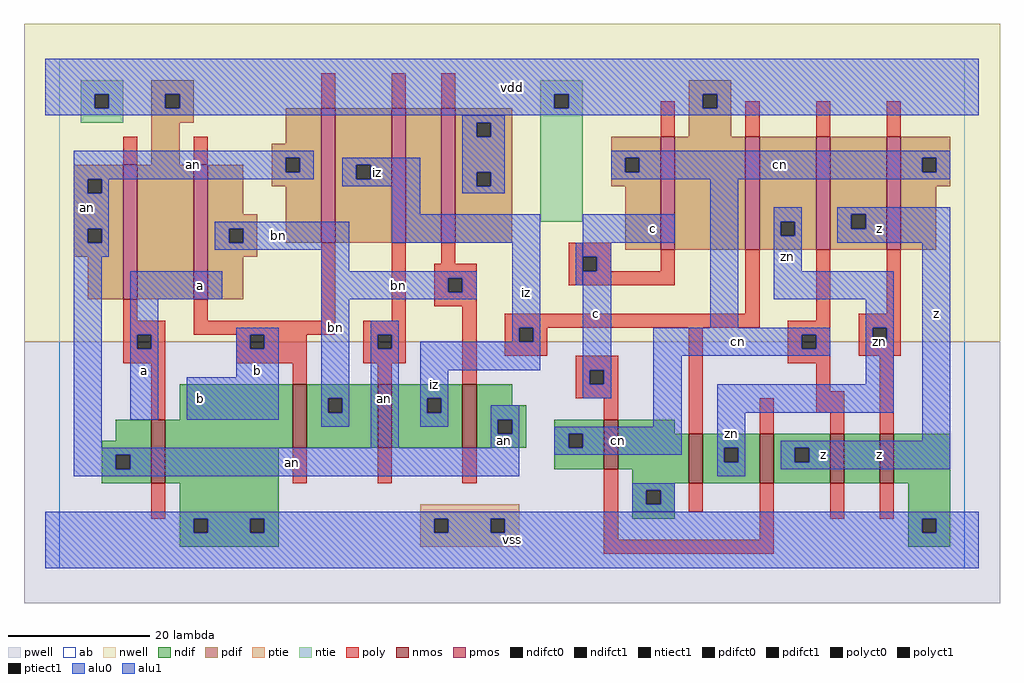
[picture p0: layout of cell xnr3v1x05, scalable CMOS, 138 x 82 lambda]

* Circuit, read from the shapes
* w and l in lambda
.subckt xnr3v1x05 a an b bn c cn iz vdd vss z zn
M1 vss a an vss nfet w=9 l=2
M2 bn b vss vss nfet w=9 l=2
M3 iz an bn vss nfet w=9 l=2
M4 an bn iz vss nfet w=9 l=2
M5 vss c cn vss nfet w=7 l=2
M6 zn iz vss vss nfet w=7 l=2
M7 z c zn vss nfet w=7 l=2
M8 n1 cn z vss nfet w=7 l=2
M9 vss zn n1 vss nfet w=7 l=2
M10 vdd a an vdd pfet w=19 l=2
M11 bn b vdd vdd pfet w=19 l=2
M12 iz b an vdd pfet w=19 l=2
M13 n2 an iz vdd pfet w=19 l=2
M14 vdd bn n2 vdd pfet w=19 l=2
M15 vdd c cn vdd pfet w=16 l=2
M16 zn iz vdd vdd pfet w=16 l=2
M17 z cn zn vdd pfet w=16 l=2
M18 cn zn z vdd pfet w=16 l=2
.ends

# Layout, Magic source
magic
tech scmos
<< ab >>
rect 0 0 128 72
<< nwell >>
rect -5 32 133 77
<< pwell >>
rect -5 -5 133 32
<< poly >>
rect 37 65 39 70
rect 47 65 49 70
rect 54 65 56 70
rect 9 57 11 61
rect 19 57 21 61
rect 85 61 87 66
rect 97 61 99 66
rect 107 61 109 66
rect 117 61 119 66
rect 9 35 11 38
rect 19 35 21 38
rect 37 35 39 46
rect 47 35 49 46
rect 54 43 56 46
rect 72 44 78 46
rect 53 41 59 43
rect 53 39 55 41
rect 57 39 59 41
rect 72 42 74 44
rect 76 42 78 44
rect 85 42 87 45
rect 72 40 87 42
rect 53 37 59 39
rect 9 33 15 35
rect 19 33 39 35
rect 43 33 49 35
rect 9 31 11 33
rect 13 31 15 33
rect 9 29 15 31
rect 25 31 27 33
rect 29 31 35 33
rect 25 29 35 31
rect 43 31 45 33
rect 47 31 49 33
rect 43 29 49 31
rect 13 21 15 29
rect 33 26 35 29
rect 45 26 47 29
rect 57 26 59 37
rect 97 36 99 45
rect 63 34 99 36
rect 107 35 109 45
rect 117 36 119 45
rect 63 32 65 34
rect 67 32 69 34
rect 63 30 69 32
rect 73 28 79 30
rect 73 26 75 28
rect 77 26 79 28
rect 73 24 79 26
rect 77 21 79 24
rect 33 12 35 17
rect 45 12 47 17
rect 57 12 59 17
rect 89 19 91 34
rect 103 33 109 35
rect 103 31 105 33
rect 107 31 109 33
rect 103 29 109 31
rect 113 34 119 36
rect 113 32 115 34
rect 117 32 119 34
rect 113 30 119 32
rect 107 25 109 29
rect 99 19 101 24
rect 107 22 111 25
rect 109 19 111 22
rect 116 19 118 30
rect 13 7 15 12
rect 77 4 79 14
rect 89 8 91 12
rect 99 4 101 12
rect 109 7 111 12
rect 116 7 118 12
rect 77 2 101 4
<< ndif >>
rect 17 21 33 26
rect 8 18 13 21
rect 6 16 13 18
rect 6 14 8 16
rect 10 14 13 16
rect 6 12 13 14
rect 15 17 33 21
rect 35 24 45 26
rect 35 22 38 24
rect 40 22 45 24
rect 35 17 45 22
rect 47 24 57 26
rect 47 22 52 24
rect 54 22 57 24
rect 47 17 57 22
rect 59 23 64 26
rect 59 21 66 23
rect 59 19 62 21
rect 64 19 66 21
rect 59 17 66 19
rect 70 19 77 21
rect 70 17 72 19
rect 74 17 77 19
rect 15 12 31 17
rect 70 14 77 17
rect 79 19 87 21
rect 79 14 89 19
rect 17 7 31 12
rect 17 5 19 7
rect 21 5 27 7
rect 29 5 31 7
rect 17 3 31 5
rect 81 12 89 14
rect 91 17 99 19
rect 91 15 94 17
rect 96 15 99 17
rect 91 12 99 15
rect 101 17 109 19
rect 101 15 104 17
rect 106 15 109 17
rect 101 12 109 15
rect 111 12 116 19
rect 118 12 126 19
rect 81 11 87 12
rect 81 9 83 11
rect 85 9 87 11
rect 81 7 87 9
rect 120 7 126 12
rect 120 5 122 7
rect 124 5 126 7
rect 120 3 126 5
<< pdif >>
rect 13 67 19 69
rect 13 65 15 67
rect 17 65 19 67
rect 89 67 95 69
rect 13 63 19 65
rect 13 57 17 63
rect 32 60 37 65
rect 30 58 37 60
rect 2 55 9 57
rect 2 53 4 55
rect 6 53 9 55
rect 2 48 9 53
rect 2 46 4 48
rect 6 46 9 48
rect 2 44 9 46
rect 4 38 9 44
rect 11 38 19 57
rect 21 50 26 57
rect 30 56 32 58
rect 34 56 37 58
rect 30 54 37 56
rect 21 48 28 50
rect 21 46 24 48
rect 26 46 28 48
rect 32 46 37 54
rect 39 57 47 65
rect 39 55 42 57
rect 44 55 47 57
rect 39 46 47 55
rect 49 46 54 65
rect 56 63 64 65
rect 56 61 59 63
rect 61 61 64 63
rect 56 56 64 61
rect 56 54 59 56
rect 61 54 64 56
rect 56 46 64 54
rect 89 65 91 67
rect 93 65 95 67
rect 89 61 95 65
rect 78 58 85 61
rect 78 56 80 58
rect 82 56 85 58
rect 78 54 85 56
rect 21 44 28 46
rect 21 38 26 44
rect 80 45 85 54
rect 87 45 97 61
rect 99 49 107 61
rect 99 47 102 49
rect 104 47 107 49
rect 99 45 107 47
rect 109 50 117 61
rect 109 48 112 50
rect 114 48 117 50
rect 109 45 117 48
rect 119 58 126 61
rect 119 56 122 58
rect 124 56 126 58
rect 119 54 126 56
rect 119 45 124 54
<< alu1 >>
rect -2 67 130 72
rect -2 65 5 67
rect 7 65 15 67
rect 17 65 70 67
rect 72 65 91 67
rect 93 65 130 67
rect -2 64 130 65
rect 74 46 87 50
rect 10 38 23 42
rect 10 33 14 38
rect 10 31 11 33
rect 13 31 14 33
rect 10 21 14 31
rect 25 33 31 34
rect 25 31 27 33
rect 29 31 31 33
rect 25 27 31 31
rect 18 21 31 27
rect 74 44 78 46
rect 76 42 78 44
rect 74 28 78 42
rect 110 50 126 51
rect 110 48 112 50
rect 114 48 126 50
rect 110 46 126 48
rect 74 26 75 28
rect 77 26 78 28
rect 74 24 78 26
rect 122 18 126 46
rect 102 17 126 18
rect 102 15 104 17
rect 106 15 126 17
rect 102 14 126 15
rect -2 7 130 8
rect -2 5 19 7
rect 21 5 27 7
rect 29 5 53 7
rect 55 5 61 7
rect 63 5 122 7
rect 124 5 130 7
rect -2 0 130 5
<< ptie >>
rect 51 7 65 9
rect 51 5 53 7
rect 55 5 61 7
rect 63 5 65 7
rect 51 3 65 5
<< ntie >>
rect 3 67 9 69
rect 3 65 5 67
rect 7 65 9 67
rect 3 63 9 65
rect 68 67 74 69
rect 68 65 70 67
rect 72 65 74 67
rect 68 49 74 65
<< nmos >>
rect 13 12 15 21
rect 33 17 35 26
rect 45 17 47 26
rect 57 17 59 26
rect 77 14 79 21
rect 89 12 91 19
rect 99 12 101 19
rect 109 12 111 19
rect 116 12 118 19
<< pmos >>
rect 9 38 11 57
rect 19 38 21 57
rect 37 46 39 65
rect 47 46 49 65
rect 54 46 56 65
rect 85 45 87 61
rect 97 45 99 61
rect 107 45 109 61
rect 117 45 119 61
<< polyct0 >>
rect 55 39 57 41
rect 45 31 47 33
rect 65 32 67 34
rect 105 31 107 33
rect 115 32 117 34
<< polyct1 >>
rect 74 42 76 44
rect 11 31 13 33
rect 27 31 29 33
rect 75 26 77 28
<< ndifct0 >>
rect 8 14 10 16
rect 38 22 40 24
rect 52 22 54 24
rect 62 19 64 21
rect 72 17 74 19
rect 94 15 96 17
rect 83 9 85 11
<< ndifct1 >>
rect 19 5 21 7
rect 27 5 29 7
rect 104 15 106 17
rect 122 5 124 7
<< ntiect1 >>
rect 5 65 7 67
rect 70 65 72 67
<< ptiect1 >>
rect 53 5 55 7
rect 61 5 63 7
<< pdifct0 >>
rect 4 53 6 55
rect 4 46 6 48
rect 32 56 34 58
rect 24 46 26 48
rect 42 55 44 57
rect 59 61 61 63
rect 59 54 61 56
rect 80 56 82 58
rect 102 47 104 49
rect 122 56 124 58
<< pdifct1 >>
rect 15 65 17 67
rect 91 65 93 67
rect 112 48 114 50
<< alu0 >>
rect 57 63 63 64
rect 57 61 59 63
rect 61 61 63 63
rect 2 58 36 59
rect 2 56 32 58
rect 34 56 36 58
rect 2 55 36 56
rect 40 57 51 58
rect 40 55 42 57
rect 44 55 51 57
rect 2 53 4 55
rect 6 53 7 55
rect 40 54 51 55
rect 2 48 7 53
rect 47 50 51 54
rect 57 56 63 61
rect 57 54 59 56
rect 61 54 63 56
rect 78 58 126 59
rect 78 56 80 58
rect 82 56 122 58
rect 124 56 126 58
rect 78 55 126 56
rect 57 53 63 54
rect 2 46 4 48
rect 6 46 7 48
rect 2 44 7 46
rect 22 48 41 49
rect 22 46 24 48
rect 26 46 41 48
rect 47 46 68 50
rect 22 45 41 46
rect 2 17 6 44
rect 37 42 41 45
rect 37 41 59 42
rect 37 39 55 41
rect 57 39 59 41
rect 37 38 59 39
rect 37 24 41 38
rect 37 22 38 24
rect 40 22 41 24
rect 37 20 41 22
rect 44 33 48 35
rect 44 31 45 33
rect 47 31 48 33
rect 64 34 68 46
rect 73 40 74 46
rect 64 32 65 34
rect 67 32 68 34
rect 44 17 48 31
rect 51 28 68 32
rect 92 34 96 55
rect 101 49 105 51
rect 101 47 102 49
rect 104 47 105 49
rect 101 42 105 47
rect 101 38 118 42
rect 114 34 118 38
rect 51 24 55 28
rect 84 33 109 34
rect 84 31 105 33
rect 107 31 109 33
rect 84 30 109 31
rect 114 32 115 34
rect 117 32 118 34
rect 51 22 52 24
rect 54 22 55 24
rect 51 20 55 22
rect 61 21 65 23
rect 61 19 62 21
rect 64 19 65 21
rect 84 20 88 30
rect 114 26 118 32
rect 61 17 65 19
rect 2 16 65 17
rect 70 19 88 20
rect 70 17 72 19
rect 74 17 88 19
rect 70 16 88 17
rect 93 22 118 26
rect 93 17 97 22
rect 2 14 8 16
rect 10 14 65 16
rect 2 13 65 14
rect 93 15 94 17
rect 96 15 97 17
rect 93 13 97 15
rect 81 11 87 12
rect 81 9 83 11
rect 85 9 87 11
rect 81 8 87 9
<< labels >>
rlabel alu0 4 51 4 51 6 an
rlabel alu0 53 26 53 26 6 iz
rlabel alu0 46 24 46 24 6 an
rlabel alu0 48 40 48 40 6 bn
rlabel alu0 39 34 39 34 6 bn
rlabel alu0 31 47 31 47 6 bn
rlabel alu0 45 56 45 56 6 iz
rlabel alu0 19 57 19 57 6 an
rlabel alu0 33 15 33 15 6 an
rlabel alu0 79 18 79 18 6 cn
rlabel alu0 63 18 63 18 6 an
rlabel alu0 66 39 66 39 6 iz
rlabel alu0 95 19 95 19 6 zn
rlabel alu0 96 32 96 32 6 cn
rlabel alu0 103 44 103 44 6 zn
rlabel alu0 116 32 116 32 6 zn
rlabel alu0 102 57 102 57 6 cn
rlabel alu1 28 28 28 28 6 b
rlabel alu1 20 24 20 24 6 b
rlabel alu1 12 28 12 28 6 a
rlabel alu1 20 40 20 40 6 a
rlabel alu1 64 4 64 4 6 vss
rlabel alu1 76 36 76 36 6 c
rlabel alu1 84 48 84 48 6 c
rlabel alu1 64 68 64 68 6 vdd
rlabel alu1 116 16 116 16 6 z
rlabel alu1 108 16 108 16 6 z
rlabel alu1 124 36 124 36 6 z
rlabel alu1 116 48 116 48 6 z
<< end >>
